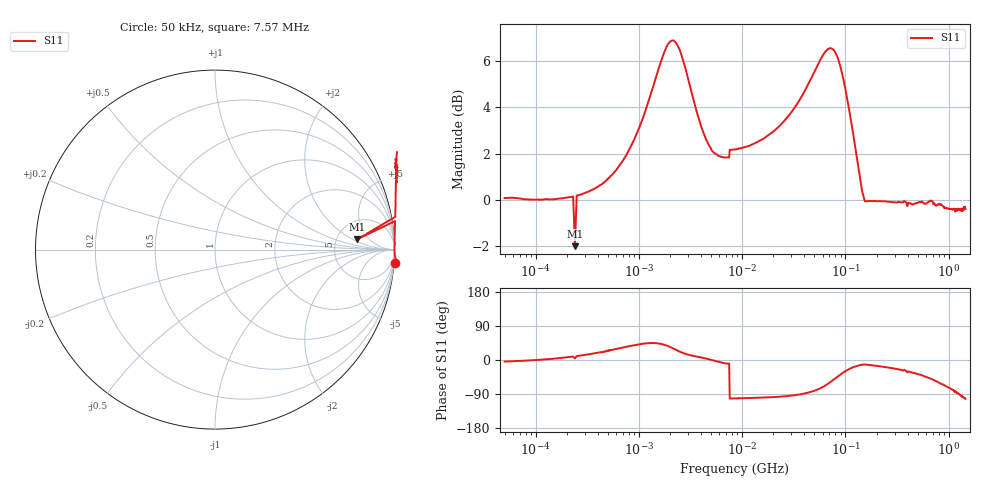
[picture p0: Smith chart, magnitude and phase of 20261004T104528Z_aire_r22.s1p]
! piloto_corto / aire / r22
# HZ S RI R 50
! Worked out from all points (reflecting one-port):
!   501 points, 50 kHz to 1.45 GHz, reference 50 ohm
!   lowest |S11| = -2.0 dB at 240 kHz (marker M1), VSWR 8.66, Z = 396 + j120 ohm
!   phase of S11 starts at -4 deg and turns -98 deg over the sweep
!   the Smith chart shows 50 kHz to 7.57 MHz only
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50000  1.005 -0.0723
183000  1.002 0.1018
240000  0.7909 0.0563
658000  1.018 0.618
1180000  1.138 1.098
1630000  1.467 1.345
1990000  1.808 1.253
2440000  1.961 0.8351
3430000  1.598 0.2873
4870000  1.301 0.0309
7300000  1.217 -0.2072
7750000  -0.2569 -1.256
8560000  -0.2527 -1.26
1.81e7  -0.2054 -1.367
3.16e7  -0.0885 -1.571
4.78e7  0.2304 -1.841
6.58e7  0.8885 -1.913
7.57e7  1.268 -1.697
8.83e7  1.519 -1.243
9.82e7  1.522 -0.9021
1e8  1.511 -0.8468
1.18e8  1.322 -0.4631
1.36e8  1.111 -0.2786
1.63e8  0.9684 -0.2168
4.06e8  0.8501 -0.4971
7.03e8  0.6087 -0.7762
1.117e9  0.16 -0.9408
1.45e9  -0.2027 -0.9334
